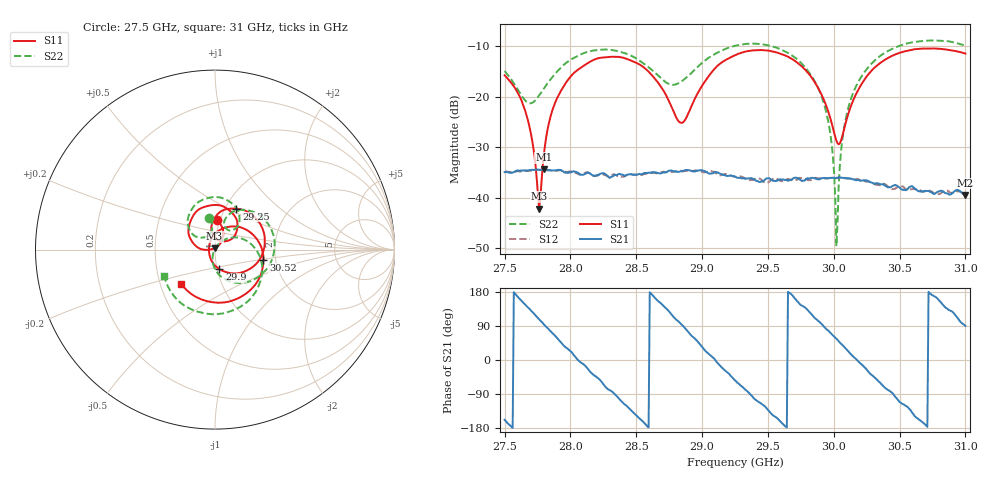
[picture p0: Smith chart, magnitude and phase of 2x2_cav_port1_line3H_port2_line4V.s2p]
!Created with skrf (http://scikit-rf.org).
# GHz S RI R 50.0
!freq ReS11 ImS11 ReS21 ImS21 ReS12 ImS12 ReS22 ImS22
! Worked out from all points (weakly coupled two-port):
!   401 points, 27.5 GHz to 31 GHz, reference 50 ohm
!   highest |S21| = -34.39 dB at 27.8 GHz (marker M1); lowest = -39.5 dB at 31 GHz (marker M2)
!   lowest |S11| = -42.2 dB at 27.76 GHz (marker M3), VSWR 1.02, Z = 49.7 + j0.731 ohm
!   |S11| at or under -10 dB: start of sweep to end of sweep
!   |S22| runs from -49.6 to -8.9 dB; largest |S21 - S12| = 0.0015
!   S11 on the Smith chart (normalised r, x): 27.5 GHz: 0.97, +0.32; 29.25 GHz: 1.13, +0.55; 29.9 GHz: 1.02, -0.23; 30.52 GHz: 1.72, -0.22; 31 GHz: 0.64, -0.26
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27.5  0.0118 0.1624  -0.0165 -0.00677  -0.0165 -0.00696  -0.0325 0.1769
27.66625  0.0386 0.053  -0.0147 0.0113  -0.0146 0.0112  -0.0306 0.0836
27.7625  -0.00259 0.00735  -0.00564 0.018  -0.00542 0.0181  -0.0787 0.0663
27.7975  -0.0264 0.000711  -0.00141 0.019  -0.00116 0.0189  -0.0982 0.0693
27.885  -0.0876 0.00683  0.00834 0.0167  0.0084 0.0164  -0.136 0.101
28.08625  -0.1442 0.1335  0.0167 -0.0024  0.0167 -0.00207  -0.1227 0.2348
28.3925  0.0471 0.2398  -0.00595 -0.0159  -0.00552 -0.0151  0.0927 0.2588
28.6725  0.1099 0.0766  -0.0156 0.00772  -0.0159 0.00748  0.1108 0.1146
28.8475  0.0204 0.051  -0.000733 0.0182  -0.000415 0.0184  0.0534 0.1325
29.25  0.1195 0.2282  0.00954 -0.0131  0.00982 -0.0127  0.2641 0.1786
29.5475  0.2766 0.0283  -0.0124 -0.00771  -0.0129 -0.00857  0.2953 -0.0983
29.83625  0.0788 -0.1299  -0.00762 0.0138  -0.0076 0.0131  0.0368 -0.1523
29.8975  0.0244 -0.1088  -0.00226 0.0152  -0.00211 0.0154  8.01e-05 -0.1089
29.9675  -0.0192 -0.0622  0.00421 0.015  0.00414 0.0151  -0.0138 -0.0467
30.02  -0.0328 -0.0164  0.00868 0.0131  0.00884 0.0128  -0.00296 -0.00146
30.0375  -0.0337 9.16e-05  0.0103 0.012  0.0102 0.0121  0.00447 0.0122
30.0725  -0.0298 0.0328  0.0125 0.00947  0.0127 0.00931  0.0252 0.0361
30.13375  -0.00524 0.0825  0.015 0.0038  0.0147 0.00392  0.0739 0.0637
30.4225  0.2413 0.0462  0.00193 -0.0125  0.00108 -0.0124  0.2628 -0.1182
30.51875  0.2699 -0.0582  -0.00513 -0.0109  -0.00532 -0.0118  0.2285 -0.2321
30.755  0.1053 -0.2809  -0.0108 0.00186  -0.011 0.0024  -0.0405 -0.358
31  -0.1874 -0.1909  -1.53e-05 0.0106  -0.000431 0.0109  -0.2834 -0.1472
